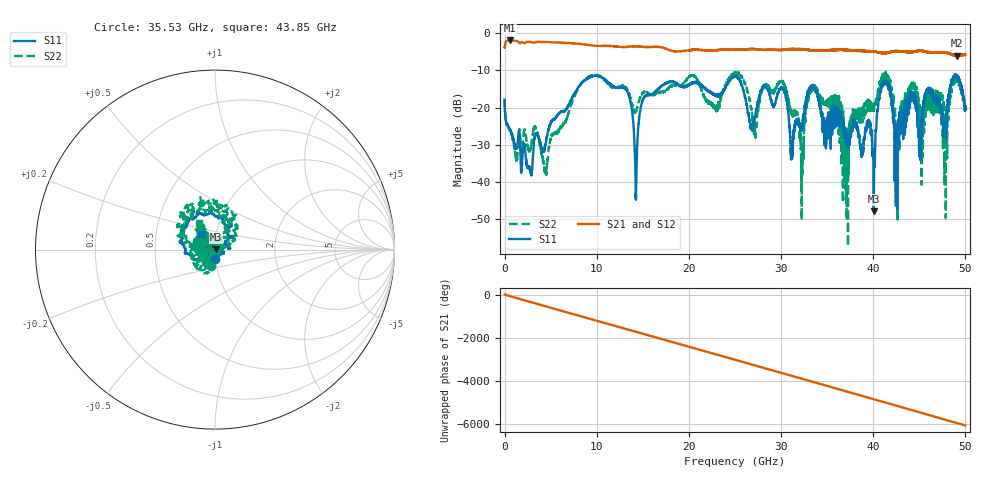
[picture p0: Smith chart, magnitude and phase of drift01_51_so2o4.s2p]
!Created with skrf (http://scikit-rf.org).
# Hz S RI R 50.0
!freq ReS11 ImS11 ReS21 ImS21 ReS12 ImS12 ReS22 ImS22
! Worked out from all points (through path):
!   10001 points, 300 kHz to 50 GHz, reference 50 ohm
!   highest |S21| = -2.00 dB at 625.3 MHz (marker M1); lowest = -6.1 dB at 49.05 GHz (marker M2)
!   group delay of S21, straight-line fit = 336 ps
!   lowest |S11| = -47.9 dB at 40.05 GHz (marker M3), VSWR 1.01, Z = 50.4 + j0.112 ohm
!   |S11| at or under -10 dB: start of sweep to end of sweep
!   |S22| runs from -57.2 to -10.4 dB; largest |S21 - S12| = 0.024
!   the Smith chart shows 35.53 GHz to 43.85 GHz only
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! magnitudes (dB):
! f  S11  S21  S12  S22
! 300 kHz  -18.0  -3.9  -4.0  -17.6
! 625.3 MHz  -26.0  -2.0  -2.0  -26.1
! 4.435 GHz  -29.9  -2.4  -2.4  -36.7
! 8.335 GHz  -13.5  -3.0  -3.0  -13.5
! 13.17 GHz  -15.2  -3.8  -3.7  -14.7
! 14.25 GHz  -44.8  -3.6  -3.6  -21.1
! 16.67 GHz  -14.9  -3.7  -3.8  -15.8
! 25 GHz  -11.7  -4.5  -4.6  -11.1
! 27.14 GHz  -22.6  -4.3  -4.3  -25.2
! 30.18 GHz  -15.0  -4.5  -4.5  -13.2
! 31.14 GHz  -33.7  -4.3  -4.3  -21.6
! 32.23 GHz  -24.6  -4.4  -4.4  -46.6
! 33.34 GHz  -14.3  -4.7  -4.6  -14.5
! 37.07 GHz  -28.5  -4.6  -4.6  -29.5
! 40.05 GHz  -47.9  -5.0  -4.9  -20.7
! 41.67 GHz  -14.7  -5.1  -5.2  -12.1
! 42.55 GHz  -27.3  -4.8  -4.9  -25.5
! 44.16 GHz  -17.2  -5.2  -5.1  -13.9
! 45.32 GHz  -22.0  -4.8  -4.7  -23.8
! 47.75 GHz  -26.9  -5.3  -5.3  -28.9
! 49.05 GHz  -11.6  -6.1  -6.1  -12.2
! 50 GHz  -20.1  -5.9  -5.8  -20.2
